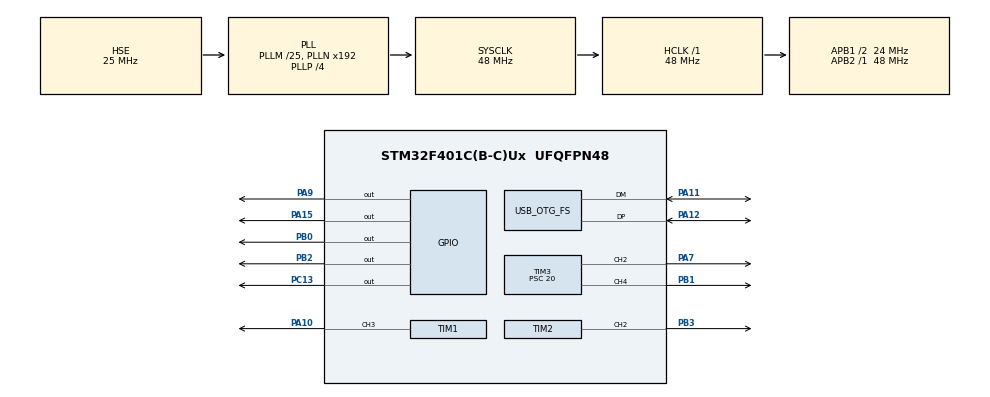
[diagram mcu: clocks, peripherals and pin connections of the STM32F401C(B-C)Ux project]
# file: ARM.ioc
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Mcu.Family=STM32F4
Mcu.Name=STM32F401C(B-C)Ux
Mcu.Package=UFQFPN48
NVIC.OTG_FS_IRQn=true\:0\:0\:false\:false\:true\:false\:true\:true
NVIC.PriorityGroup=NVIC_PRIORITYGROUP_4
PA10.Signal=S_TIM1_CH3
PA11.Mode=Device_Only
PA11.Signal=USB_OTG_FS_DM
PA12.Mode=Device_Only
PA12.Signal=USB_OTG_FS_DP
PA15.Signal=GPIO_Output
PA7.Signal=S_TIM3_CH2
PA9.Signal=GPIO_Output
PB0.Signal=GPIO_Output
PB1.Signal=S_TIM3_CH4
PB2.Signal=GPIO_Output
PB3.Signal=S_TIM2_CH2
PC13-ANTI_TAMP.Signal=GPIO_Output
PH0\ -\ OSC_IN.Mode=HSE-External-Oscillator
PH0\ -\ OSC_IN.Signal=RCC_OSC_IN
PH1\ -\ OSC_OUT.Mode=HSE-External-Oscillator
PH1\ -\ OSC_OUT.Signal=RCC_OSC_OUT
ProjectManager.HeapSize=0x200
ProjectManager.StackSize=0x400
ProjectManager.TargetToolchain=STM32CubeIDE
RCC.48MHZClocksFreq_Value=48000000
RCC.AHBFreq_Value=48000000
RCC.APB1CLKDivider=RCC_HCLK_DIV2
RCC.APB1Freq_Value=24000000
RCC.APB1TimFreq_Value=48000000
RCC.APB2Freq_Value=48000000
RCC.APB2TimFreq_Value=48000000
RCC.CortexFreq_Value=48000000
RCC.HCLKFreq_Value=48000000
RCC.HSE_VALUE=25000000
RCC.HSI_VALUE=16000000
RCC.LSE_VALUE=32768
RCC.PLLM=25
RCC.PLLP=RCC_PLLP_DIV4
RCC.PLLSourceVirtual=RCC_PLLSOURCE_HSE
RCC.SYSCLKFreq_VALUE=48000000
RCC.SYSCLKSource=RCC_SYSCLKSOURCE_PLLCLK
RCC.VCOOutputFreq_Value=192000000
SH.S_TIM1_CH3.0=TIM1_CH3,PWM Generation3 CH3
SH.S_TIM2_CH2.0=TIM2_CH2,PWM Generation2 CH2
SH.S_TIM3_CH2.0=TIM3_CH2,PWM Generation2 CH2
SH.S_TIM3_CH4.0=TIM3_CH4,PWM Generation4 CH4
TIM1.Channel-PWM\ Generation3\ CH3=TIM_CHANNEL_3
TIM1.Period=255
TIM1.Prescaler=20
TIM2.Channel-PWM\ Generation2\ CH2=TIM_CHANNEL_2
TIM2.Period=255
TIM2.Prescaler=20
TIM3.Channel-PWM\ Generation2\ CH2=TIM_CHANNEL_2
TIM3.Channel-PWM\ Generation4\ CH4=TIM_CHANNEL_4
TIM3.Period=255
TIM3.Prescaler=20
USB_DEVICE.CLASS_NAME_FS=CDC
USB_DEVICE.VirtualMode=Cdc
USB_DEVICE.VirtualModeFS=Cdc_FS
USB_OTG_FS.VirtualMode=Device_Only
VP_TIM1_VS_ClockSourceINT.Mode=Internal
VP_TIM2_VS_ClockSourceINT.Mode=Internal
VP_TIM3_VS_ClockSourceINT.Mode=Internal
VP_USB_DEVICE_VS_USB_DEVICE_CDC_FS.Mode=CDC_FS
board=custom

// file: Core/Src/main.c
/* USER CODE BEGIN Header */
/**
  ******************************************************************************
  * @file           : main.c
  * @brief          : Main program body
  ******************************************************************************
  * @attention
  *
  * Copyrig	ht (c) 2025 STMicroelectronics.
  * All rights reserved.
  *
  * This software is licensed under terms that can be found in the LICENSE file
  * in the root directory of this software component.
  * If no LICENSE file comes with this software, it is provided AS-IS.
  *
  ******************************************************************************
  */
/* USER CODE END Header */
#include "main.h"
#include "usb_device.h"

/* USER CODE BEGIN Includes */
#include "usbd_cdc_if.h"
/* USER CODE END Includes */

/* USER CODE BEGIN PD */
#define USB_BUFLEN 128
/* USER CODE END PD */

TIM_HandleTypeDef htim1;
TIM_HandleTypeDef htim2;
TIM_HandleTypeDef htim3;

/* USER CODE BEGIN PV */
uint8_t usbRxBuf[USB_BUFLEN];
uint16_t usbRxBufLen;

 uint16_t pwm_values[30];
 uint8_t dir_values[30];

/* LATENCY FIX: volatile ensures the main loop sees the change immediately */
volatile int usbRxFlag = 0;
/* USER CODE END PV */

void SystemClock_Config(void);
static void MX_GPIO_Init(void);
static void MX_TIM1_Init(void);
static void MX_TIM2_Init(void);
static void MX_TIM3_Init(void);

/* USER CODE BEGIN 0 */
void USB_RXCallback(uint8_t* Buf, uint32_t *Len){
	/* LATENCY FIX: Keep the interrupt as short as possible.
	   Only copy the data and set the flag. No processing loops here. */
	if (*Len <= USB_BUFLEN) {
		memcpy(usbRxBuf, Buf, *Len);
		usbRxBufLen = *Len;
		usbRxFlag = 1;
	}
}
/* USER CODE END 0 */

int main(void)
{

  /* MCU Configuration--------------------------------------------------------*/

  /* Reset of all peripherals, Initializes the Flash interface and the Systick. */
  HAL_Init();

  /* Configure the system clock */
  SystemClock_Config();

  /* Initialize all configured peripherals */
  MX_GPIO_Init();
  MX_TIM1_Init();
  MX_TIM2_Init();
  MX_TIM3_Init();
  MX_USB_DEVICE_Init();
  /* USER CODE BEGIN 2 */
  HAL_TIM_PWM_Start(&htim3, TIM_CHANNEL_2);
  HAL_TIM_PWM_Start(&htim3, TIM_CHANNEL_4);
  HAL_TIM_PWM_Start(&htim1, TIM_CHANNEL_3);
  HAL_TIM_PWM_Start(&htim2, TIM_CHANNEL_2);
  /* USER CODE END 2 */

  /* Infinite loop */
  while (1)
  {
	  if (usbRxFlag) {
		  /* LATENCY FIX: Clear flag and process the data in the main loop thread */
	  	  usbRxFlag=0;

		  // Process the motor data here instead of in the callback
		  if (usbRxBufLen % 3 == 0) {
			  for (int i = 0; i < usbRxBufLen; i += 3) {
				  uint8_t motor_num = usbRxBuf[i];

				  if (motor_num >= 0 && motor_num <= 7) {
					  pwm_values[motor_num- 0] = usbRxBuf[i+1];
					  dir_values[motor_num- 0] = usbRxBuf[i+2] ;
				  }
			  }
		  }

		  // Update Hardware
	  	  __HAL_TIM_SET_COMPARE(&htim3, TIM_CHANNEL_2, pwm_values[4]);
	  	  HAL_GPIO_WritePin(GPIOB, GPIO_PIN_0,(dir_values[4]==1)?  GPIO_PIN_SET : GPIO_PIN_RESET);

	  	  __HAL_TIM_SET_COMPARE(&htim3, TIM_CHANNEL_4, pwm_values[5]);
	  	  HAL_GPIO_WritePin(GPIOB, GPIO_PIN_2,(dir_values[5]==1) ? GPIO_PIN_SET : GPIO_PIN_RESET);

	  	  __HAL_TIM_SET_COMPARE(&htim1, TIM_CHANNEL_3, pwm_values[6]);
	  	  HAL_GPIO_WritePin(GPIOA, GPIO_PIN_9, (dir_values[6]==1) ? GPIO_PIN_SET : GPIO_PIN_RESET);

		  HAL_GPIO_WritePin(GPIOC,GPIO_PIN_13,GPIO_PIN_SET);

	  	  }
	  	  else{
	  		  // Optional: Add a very small delay or __WFI() to save power,
			  // but for lowest latency, keep it empty.
	  	  }
  }
}

void SystemClock_Config(void)
{
  RCC_OscInitTypeDef RCC_OscInitStruct = {0};
  RCC_ClkInitTypeDef RCC_ClkInitStruct = {0};

  /** Configure the main internal regulator output voltage
  */
  __HAL_RCC_PWR_CLK_ENABLE();
  __HAL_PWR_VOLTAGESCALING_CONFIG(PWR_REGULATOR_VOLTAGE_SCALE2);

  /** Initializes the RCC Oscillators according to the specified parameters
  * in the RCC_OscInitTypeDef structure.
  */
  RCC_OscInitStruct.OscillatorType = RCC_OSCILLATORTYPE_HSE;
  RCC_OscInitStruct.HSEState = RCC_HSE_ON;
  RCC_OscInitStruct.PLL.PLLState = RCC_PLL_ON;
  RCC_OscInitStruct.PLL.PLLSource = RCC_PLLSOURCE_HSE;
  RCC_OscInitStruct.PLL.PLLM = 25;
  RCC_OscInitStruct.PLL.PLLN = 192;
  RCC_OscInitStruct.PLL.PLLP = RCC_PLLP_DIV4;
  RCC_OscInitStruct.PLL.PLLQ = 4;
  if (HAL_RCC_OscConfig(&RCC_OscInitStruct) != HAL_OK)
  {
    Error_Handler();
  }

  /** Initializes the CPU, AHB and APB buses clocks
  */
  RCC_ClkInitStruct.ClockType = RCC_CLOCKTYPE_HCLK|RCC_CLOCKTYPE_SYSCLK
                              |RCC_CLOCKTYPE_PCLK1|RCC_CLOCKTYPE_PCLK2;
  RCC_ClkInitStruct.SYSCLKSource = RCC_SYSCLKSOURCE_PLLCLK;
  RCC_ClkInitStruct.AHBCLKDivider = RCC_SYSCLK_DIV1;
  RCC_ClkInitStruct.APB1CLKDivider = RCC_HCLK_DIV2;
  RCC_ClkInitStruct.APB2CLKDivider = RCC_HCLK_DIV1;

  if (HAL_RCC_ClockConfig(&RCC_ClkInitStruct, FLASH_LATENCY_1) != HAL_OK)
  {
    Error_Handler();
  }
}

static void MX_TIM1_Init(void)
{

  TIM_ClockConfigTypeDef sClockSourceConfig = {0};
  TIM_MasterConfigTypeDef sMasterConfig = {0};
  TIM_OC_InitTypeDef sConfigOC = {0};
  TIM_BreakDeadTimeConfigTypeDef sBreakDeadTimeConfig = {0};

  htim1.Instance = TIM1;
  htim1.Init.Prescaler = 20;
  htim1.Init.CounterMode = TIM_COUNTERMODE_UP;
  htim1.Init.Period = 255;
  htim1.Init.ClockDivision = TIM_CLOCKDIVISION_DIV1;
  htim1.Init.RepetitionCounter = 0;
  htim1.Init.AutoReloadPreload = TIM_AUTORELOAD_PRELOAD_DISABLE;
  if (HAL_TIM_Base_Init(&htim1) != HAL_OK)
  {
    Error_Handler();
  }
  sClockSourceConfig.ClockSource = TIM_CLOCKSOURCE_INTERNAL;
  if (HAL_TIM_ConfigClockSource(&htim1, &sClockSourceConfig) != HAL_OK)
  {
    Error_Handler();
  }
  if (HAL_TIM_PWM_Init(&htim1) != HAL_OK)
  {
    Error_Handler();
  }
  sMasterConfig.MasterOutputTrigger = TIM_TRGO_RESET;
  sMasterConfig.MasterSlaveMode = TIM_MASTERSLAVEMODE_DISABLE;
  if (HAL_TIMEx_MasterConfigSynchronization(&htim1, &sMasterConfig) != HAL_OK)
  {
    Error_Handler();
  }
  sConfigOC.OCMode = TIM_OCMODE_PWM1;
  sConfigOC.Pulse = 0;
  sConfigOC.OCPolarity = TIM_OCPOLARITY_HIGH;
  sConfigOC.OCNPolarity = TIM_OCNPOLARITY_HIGH;
  sConfigOC.OCFastMode = TIM_OCFAST_DISABLE;
  sConfigOC.OCIdleState = TIM_OCIDLESTATE_RESET;
  sConfigOC.OCNIdleState = TIM_OCNIDLESTATE_RESET;
  if (HAL_TIM_PWM_ConfigChannel(&htim1, &sConfigOC, TIM_CHANNEL_3) != HAL_OK)
  {
    Error_Handler();
  }
  sBreakDeadTimeConfig.OffStateRunMode = TIM_OSSR_DISABLE;
  sBreakDeadTimeConfig.OffStateIDLEMode = TIM_OSSI_DISABLE;
  sBreakDeadTimeConfig.LockLevel = TIM_LOCKLEVEL_OFF;
  sBreakDeadTimeConfig.DeadTime = 0;
  sBreakDeadTimeConfig.BreakState = TIM_BREAK_DISABLE;
  sBreakDeadTimeConfig.BreakPolarity = TIM_BREAKPOLARITY_HIGH;
  sBreakDeadTimeConfig.AutomaticOutput = TIM_AUTOMATICOUTPUT_DISABLE;
  if (HAL_TIMEx_ConfigBreakDeadTime(&htim1, &sBreakDeadTimeConfig) != HAL_OK)
  {
    Error_Handler();
  }
  HAL_TIM_MspPostInit(&htim1);

}

static void MX_TIM2_Init(void)
{

  TIM_ClockConfigTypeDef sClockSourceConfig = {0};
  TIM_MasterConfigTypeDef sMasterConfig = {0};
  TIM_OC_InitTypeDef sConfigOC = {0};

  htim2.Instance = TIM2;
  htim2.Init.Prescaler = 20;
  htim2.Init.CounterMode = TIM_COUNTERMODE_UP;
  htim2.Init.Period = 255;
  htim2.Init.ClockDivision = TIM_CLOCKDIVISION_DIV1;
  htim2.Init.AutoReloadPreload = TIM_AUTORELOAD_PRELOAD_DISABLE;
  if (HAL_TIM_Base_Init(&htim2) != HAL_OK)
  {
    Error_Handler();
  }
  sClockSourceConfig.ClockSource = TIM_CLOCKSOURCE_INTERNAL;
  if (HAL_TIM_ConfigClockSource(&htim2, &sClockSourceConfig) != HAL_OK)
  {
    Error_Handler();
  }
  if (HAL_TIM_PWM_Init(&htim2) != HAL_OK)
  {
    Error_Handler();
  }
  sMasterConfig.MasterOutputTrigger = TIM_TRGO_RESET;
  sMasterConfig.MasterSlaveMode = TIM_MASTERSLAVEMODE_DISABLE;
  if (HAL_TIMEx_MasterConfigSynchronization(&htim2, &sMasterConfig) != HAL_OK)
  {
    Error_Handler();
  }
  sConfigOC.OCMode = TIM_OCMODE_PWM1;
  sConfigOC.Pulse = 0;
  sConfigOC.OCPolarity = TIM_OCPOLARITY_HIGH;
  sConfigOC.OCFastMode = TIM_OCFAST_DISABLE;
  if (HAL_TIM_PWM_ConfigChannel(&htim2, &sConfigOC, TIM_CHANNEL_2) != HAL_OK)
  {
    Error_Handler();
  }
  HAL_TIM_MspPostInit(&htim2);

}

static void MX_TIM3_Init(void)
{

  TIM_ClockConfigTypeDef sClockSourceConfig = {0};
  TIM_MasterConfigTypeDef sMasterConfig = {0};
  TIM_OC_InitTypeDef sConfigOC = {0};

  htim3.Instance = TIM3;
  htim3.Init.Prescaler = 20;
  htim3.Init.CounterMode = TIM_COUNTERMODE_UP;
  htim3.Init.Period = 255;
  htim3.Init.ClockDivision = TIM_CLOCKDIVISION_DIV1;
  htim3.Init.AutoReloadPreload = TIM_AUTORELOAD_PRELOAD_DISABLE;
  if (HAL_TIM_Base_Init(&htim3) != HAL_OK)
  {
    Error_Handler();
  }
  sClockSourceConfig.ClockSource = TIM_CLOCKSOURCE_INTERNAL;
  if (HAL_TIM_ConfigClockSource(&htim3, &sClockSourceConfig) != HAL_OK)
  {
    Error_Handler();
  }
  if (HAL_TIM_PWM_Init(&htim3) != HAL_OK)
  {
    Error_Handler();
  }
  sMasterConfig.MasterOutputTrigger = TIM_TRGO_RESET;
  sMasterConfig.MasterSlaveMode = TIM_MASTERSLAVEMODE_DISABLE;
  if (HAL_TIMEx_MasterConfigSynchronization(&htim3, &sMasterConfig) != HAL_OK)
  {
    Error_Handler();
  }
  sConfigOC.OCMode = TIM_OCMODE_PWM1;
  sConfigOC.Pulse = 0;
  sConfigOC.OCPolarity = TIM_OCPOLARITY_HIGH;
  sConfigOC.OCFastMode = TIM_OCFAST_DISABLE;
  if (HAL_TIM_PWM_ConfigChannel(&htim3, &sConfigOC, TIM_CHANNEL_2) != HAL_OK)
  {
    Error_Handler();
  }
  if (HAL_TIM_PWM_ConfigChannel(&htim3, &sConfigOC, TIM_CHANNEL_4) != HAL_OK)
  {
    Error_Handler();
  }
  HAL_TIM_MspPostInit(&htim3);

}

static void MX_GPIO_Init(void)
{
  GPIO_InitTypeDef GPIO_InitStruct = {0};

  /* GPIO Ports Clock Enable */
  __HAL_RCC_GPIOC_CLK_ENABLE();
  __HAL_RCC_GPIOH_CLK_ENABLE();
  __HAL_RCC_GPIOA_CLK_ENABLE();
  __HAL_RCC_GPIOB_CLK_ENABLE();

  /*Configure GPIO pin Output Level */
  HAL_GPIO_WritePin(GPIOC, GPIO_PIN_13, GPIO_PIN_RESET);

  /*Configure GPIO pin Output Level */
  HAL_GPIO_WritePin(GPIOB, GPIO_PIN_0|GPIO_PIN_2, GPIO_PIN_RESET);

  /*Configure GPIO pin Output Level */
  HAL_GPIO_WritePin(GPIOA, GPIO_PIN_9|GPIO_PIN_15, GPIO_PIN_RESET);

  /*Configure GPIO pin : PC13 */
  GPIO_InitStruct.Pin = GPIO_PIN_13;
  GPIO_InitStruct.Mode = GPIO_MODE_OUTPUT_PP;
  GPIO_InitStruct.Pull = GPIO_NOPULL;
  GPIO_InitStruct.Speed = GPIO_SPEED_FREQ_LOW;
  HAL_GPIO_Init(GPIOC, &GPIO_InitStruct);

  /*Configure GPIO pins : PB0 PB2 */
  GPIO_InitStruct.Pin = GPIO_PIN_0|GPIO_PIN_2;
  GPIO_InitStruct.Mode = GPIO_MODE_OUTPUT_PP;
  GPIO_InitStruct.Pull = GPIO_NOPULL;
  GPIO_InitStruct.Speed = GPIO_SPEED_FREQ_LOW;
  HAL_GPIO_Init(GPIOB, &GPIO_InitStruct);

  /*Configure GPIO pins : PA9 PA15 */
  GPIO_InitStruct.Pin = GPIO_PIN_9|GPIO_PIN_15;
  GPIO_InitStruct.Mode = GPIO_MODE_OUTPUT_PP;
  GPIO_InitStruct.Pull = GPIO_NOPULL;
  GPIO_InitStruct.Speed = GPIO_SPEED_FREQ_LOW;
  HAL_GPIO_Init(GPIOA, &GPIO_InitStruct);

}

void Error_Handler(void)
{
  __disable_irq();
  while (1)
  {
  }
}
